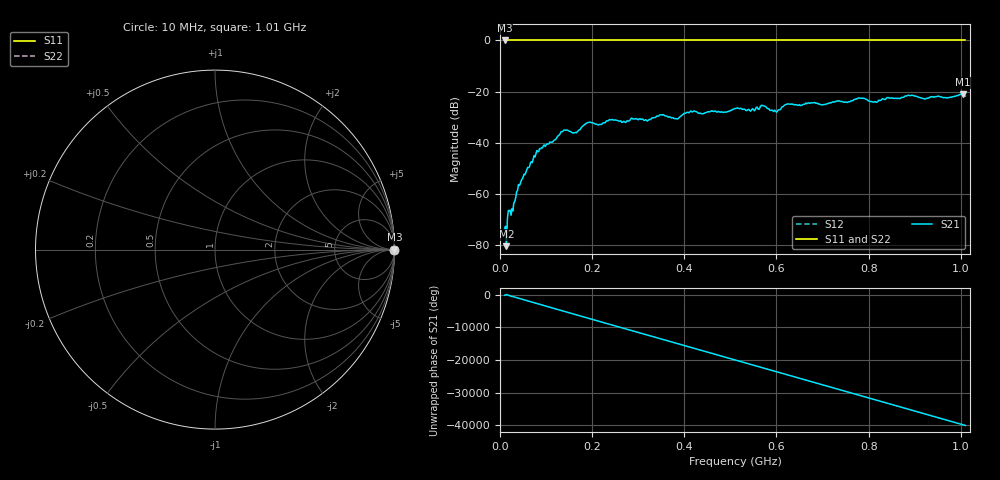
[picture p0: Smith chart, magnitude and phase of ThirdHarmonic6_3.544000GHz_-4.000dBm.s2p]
! 8/17/2025 11:40:44 AM
! C:\ANRITSUVNA\TEMP\TEMP.S2P
! CHANNEL.1
! TR.MEASUREMENT
! RAW.DATA
! RF.CORRECTION.OFF
! AVERAGING.OFF
! IF.BANDWIDTH: 5KHZ
! SWEEPTYPE:  FREQ.SWEEP(Linear)
! Reference Plane Port Info
! PORT:  PORT1  PORT2
! DISTANCE:  0  m  0  m
! TIME:  0  s  0  s
! PHASE.OFFSET:  0  deg.  0  deg.
! LOSS:  0  dB  0  dB
! REF.LOSS:  0  dB  0  dB
! REF.FREQ:  0  Hz  0  Hz
! Power Info
! POWER:  -20  dBm  -20  dBm
! EFF.POWER:  -20  dBm  -20  dBm
! SOURCE.ATTEN:  0  dB  0  dB
! TEST.ATTEN:  0  dB  0  dB
# GHZ S RI R 50.0
! FREQ.GHZ  S11RE  S11IM  S21RE  S21IM  S12RE  S12IM  S22RE  S22IM
!; PortSelection: Port_12
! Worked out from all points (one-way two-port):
!   501 points, 10 MHz to 1.01 GHz, reference 50 ohm
!   highest |S21| = -21.09 dB at 1.004 GHz (marker M1); lowest = -80.6 dB at 14 MHz (marker M2)
!   lowest |S11| = 0.0 dB at 10 MHz (marker M3)
!   |S11| at or under -10 dB: nowhere
!   |S22| runs from 0.0 to 0.0 dB; largest |S21 - S12| = 1.1
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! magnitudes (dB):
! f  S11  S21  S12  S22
! 10 MHz  0.0  -73.8  0.0  0.0
! 14 MHz  0.0  -80.6  0.0  0.0
! 20 MHz  0.0  -66.7  0.0  0.0
! 28 MHz  0.0  -66.7  0.0  0.0
! 44 MHz  0.0  -56.1  0.0  0.0
! 82 MHz  0.0  -43.6  0.0  0.0
! 136 MHz  0.0  -35.7  0.0  0.0
! 162 MHz  0.0  -36.2  0.0  0.0
! 178 MHz  0.0  -33.8  0.0  0.0
! 192 MHz  0.0  -32.1  0.0  0.0
! 318 MHz  0.0  -31.3  0.0  0.0
! 344 MHz  0.0  -29.6  0.0  0.0
! 382 MHz  0.0  -30.6  0.0  0.0
! 418 MHz  0.0  -28.0  0.0  0.0
! 510 MHz  0.0  -26.6  0.0  0.0
! 570 MHz  0.0  -25.5  0.0  0.0
! 598 MHz  0.0  -27.7  0.0  0.0
! 622 MHz  0.0  -25.0  0.0  0.0
! 678 MHz  0.0  -24.4  0.0  0.0
! 844 MHz  0.0  -22.5  0.0  0.0
! 1.004 GHz  0.0  -21.1  0.0  0.0
! 1.01 GHz  0.0  -21.8  0.0  0.0
